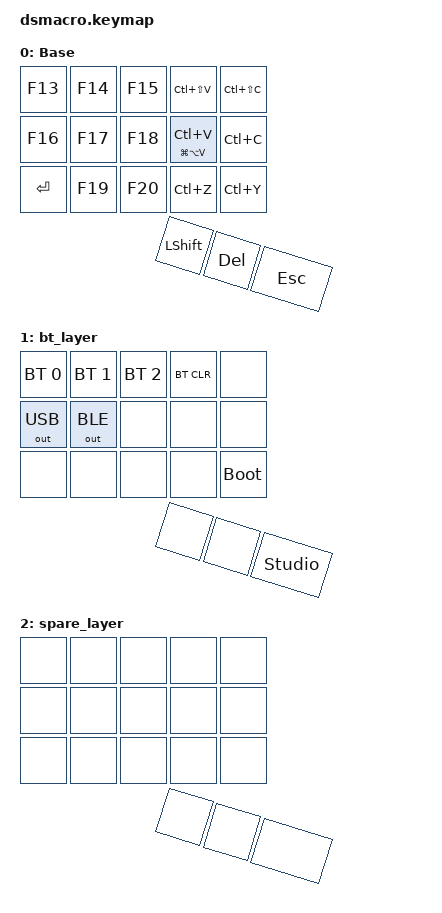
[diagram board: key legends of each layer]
#include <behaviors.dtsi>
#include <dt-bindings/zmk/keys.h>
#include <dt-bindings/zmk/bt.h>
#include <dt-bindings/zmk/outputs.h>

/ {  
    combos {
        compatible = "zmk,combos";
        combo_bt_layer {
            timeout-ms = <100>;
            key-positions = <15 16>;
            bindings = <&mo 1>;
        };
    };

    behaviors {
        paste_ht: paste_hold_tap {
            compatible = "zmk,behavior-hold-tap";
            #binding-cells = <2>;
            tapping-term-ms = <1000>;
            bindings = <&kp>, <&kp>;
            flavor = "tap-preferred";
        };
    };

    keymap {
        compatible = "zmk,keymap";
        physical-layout = <&dsmacro_physical_layout>;

        base_layer {
            display-name = "Base";
            bindings = < 
                &kp F13     &kp F14     &kp F15     &kp LC(LS(V))               &kp LC(LS(C))
                &kp F16     &kp F17     &kp F18     &paste_ht LG(LA(V)) LC(V)   &kp LC(C)
                &kp ENTER   &kp F19     &kp F20     &kp LC(Z)                   &kp LC(Y)
                                        &kp LSHIFT  &kp DEL                     &kp ESC
            >;
        };

        bt_layer {
            bindings = <
                &bt BT_SEL 0 &bt BT_SEL 1 &bt BT_SEL 2 &bt BT_CLR  &none
                &out OUT_USB &out OUT_BLE &none        &none          &none
                &none        &none        &none        &none          &bootloader
                                          &none        &none          &studio_unlock
            >;
        };
        
        spare_layer {
            bindings = <
                &none   &none   &none   &none   &none
                &none   &none   &none   &none   &none
                &none   &none   &none   &none   &none
                                &none   &none   &none
            >;
        };
    };
};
